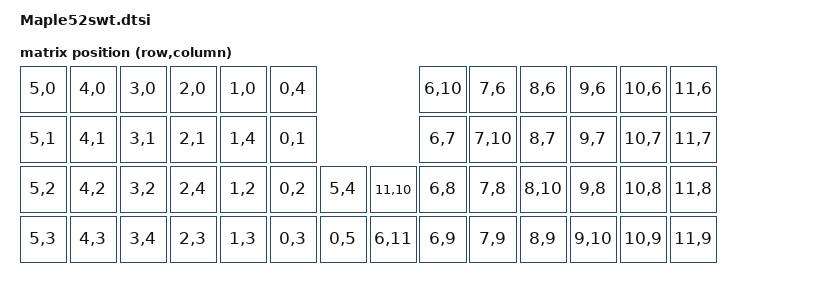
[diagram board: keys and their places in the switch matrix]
/*
 * Copyright (c) 2020 Pete Johanson
 *
 * SPDX-License-Identifier: MIT
 */

#include <dt-bindings/zmk/matrix_transform.h>
#include <physical_layouts.dtsi>

/ {
    chosen {
        zmk,kscan = &kscan0;
        zmk,matrix-transform = &default_transform;
    };

    kscan0: kscan {
        compatible = "zmk,kscan-gpio-charlieplex";
        wakeup-source;

        gpios
          = <&gpio0  3 GPIO_ACTIVE_HIGH>
          , <&gpio0 28 GPIO_ACTIVE_HIGH>
          , <&gpio0 29 GPIO_ACTIVE_HIGH>
          , <&gpio0  4 GPIO_ACTIVE_HIGH>
          , <&gpio0  5 GPIO_ACTIVE_HIGH>
          , <&gpio1 11 GPIO_ACTIVE_HIGH>
          ;
    };
    
    default_transform: matrix_transform {
        compatible = "zmk,matrix-transform";
        rows = <4>;
        columns = <14>;
        map = <
            RC(5,0) RC(4,0) RC(3,0) RC(2,0) RC(1,0) RC(0,4)                           RC( 6,10) RC( 7, 6) RC( 8, 6) RC( 9, 6) RC(10, 6) RC(11, 6)
            RC(5,1) RC(4,1) RC(3,1) RC(2,1) RC(1,4) RC(0,1)                           RC( 6, 7) RC( 7,10) RC( 8, 7) RC( 9, 7) RC(10, 7) RC(11, 7)
            RC(5,2) RC(4,2) RC(3,2) RC(2,4) RC(1,2) RC(0,2) RC(5,4)         RC(11,10) RC( 6, 8) RC( 7, 8) RC( 8,10) RC( 9, 8) RC(10, 8) RC(11, 8)
            RC(5,3) RC(4,3) RC(3,4) RC(2,3) RC(1,3) RC(0,3) RC(0,5)         RC( 6,11) RC( 6, 9) RC( 7, 9) RC( 8, 9) RC( 9,10) RC(10, 9) RC(11, 9)
        >;
    };
    
};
